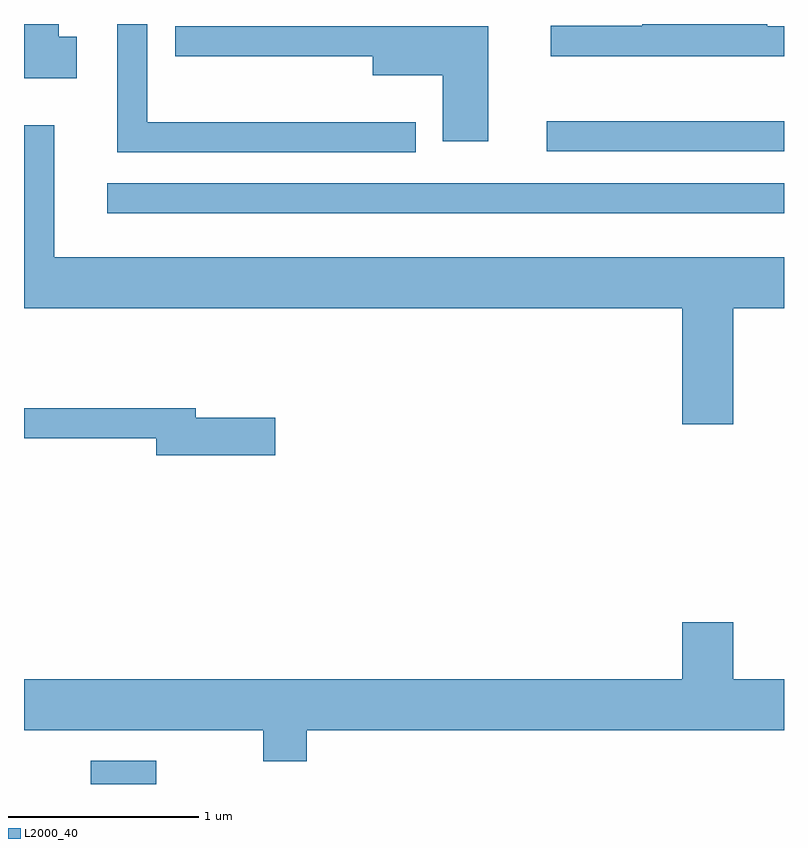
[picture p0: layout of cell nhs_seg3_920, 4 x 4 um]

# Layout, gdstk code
import gdstk
lib = gdstk.Library(unit=1e-6, precision=1e-09)
def R(c, l, rs):  # rectangles x0, y0, x1, y1
    for r in rs: c.add(gdstk.rectangle(r[:2], r[2:], *l))
def P(c, l, *ps):  # polygons
    for p in ps: c.add(gdstk.Polygon(p, *l))
L2000_40 = (2000, 40)

nhs_seg3_920 = lib.new_cell('nhs_seg3_920')
R(nhs_seg3_920, L2000_40, [(211.961,1187.892,212.308,1188.014), (212.048,1190.896,215.611,1191.054), (214.363,1191.221,215.611,1191.379)])
P(nhs_seg3_920, L2000_40, [(213.673,1191.374),(212.259,1191.374),(212.259,1191.892),(212.101,1191.892),(212.101,1191.216),(213.673,1191.216)],
  [(211.889,1191.824),(211.794,1191.824),(211.794,1191.892),(211.611,1191.892),(211.611,1191.606),(211.889,1191.606)],
  [(215.611,1191.879),(215.524,1191.879),(215.524,1191.892),(214.866,1191.892),(214.866,1191.884),(214.383,1191.884),(214.383,1191.721),(215.611,1191.721)],
  [(214.054,1191.879),(212.408,1191.879),(212.408,1191.721),(213.446,1191.721),(213.446,1191.621),(213.816,1191.621),(213.816,1191.276),(214.054,1191.276)],
  [(215.344,1190.396),(215.611,1190.396),(215.611,1190.664),(211.769,1190.664),(211.769,1191.359),(211.611,1191.359),(211.611,1190.396),(215.076,1190.396),(215.076,1189.786),(215.344,1189.786)],
  [(212.934,1189.819),(212.514,1189.819),(212.514,1189.869),(211.611,1189.869),(211.611,1189.711),(212.306,1189.711),(212.306,1189.621),(212.934,1189.621)],
  [(213.099,1188.176),(215.611,1188.176),(215.611,1188.444),(215.344,1188.444),(215.344,1188.744),(215.076,1188.744),(215.076,1188.444),(211.611,1188.444),(211.611,1188.176),(212.871,1188.176),(212.871,1188.011),(213.099,1188.011)])

lib.write_gds('nhs_seg3_920.gds')
